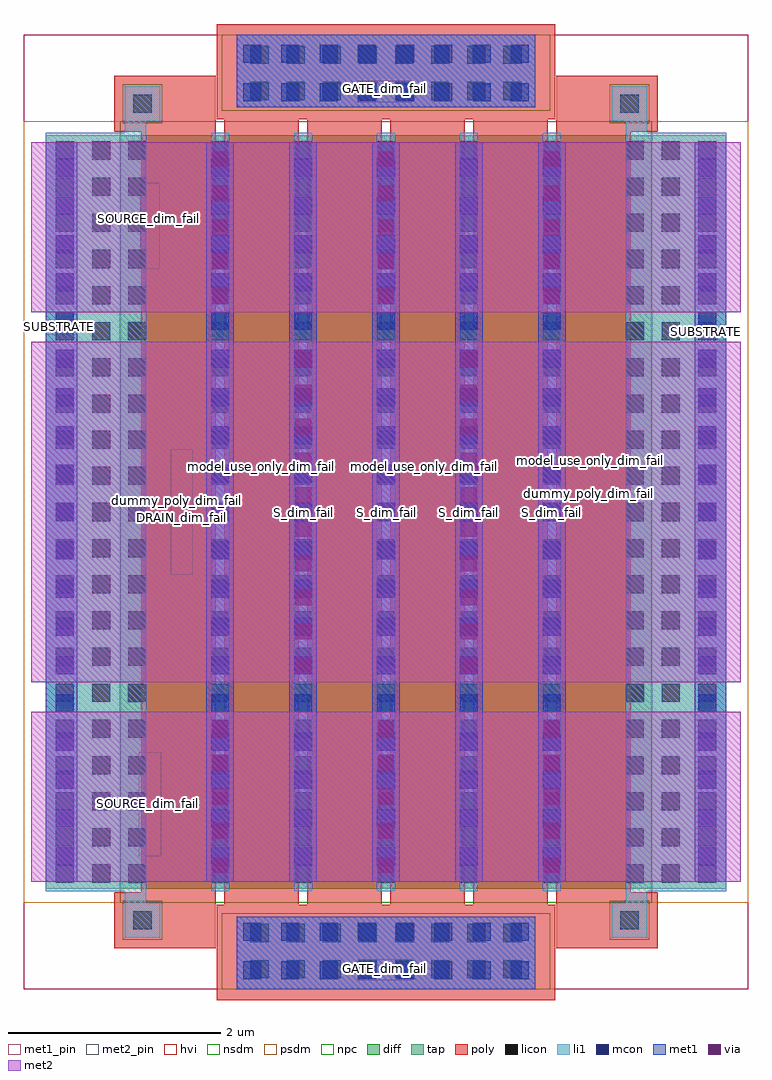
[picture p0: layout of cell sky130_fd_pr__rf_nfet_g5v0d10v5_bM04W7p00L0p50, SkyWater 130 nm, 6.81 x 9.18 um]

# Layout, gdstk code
import gdstk
lib = gdstk.Library(unit=1e-6, precision=1e-09)
def R(c, l, rs):  # rectangles x0, y0, x1, y1
    for r in rs: c.add(gdstk.rectangle(r[:2], r[2:], *l))
def A(c, l, x, y, w, h, nx, ny, dx, dy):  # array of equal rectangles
    R(c, l, [(x+i*dx, y+j*dy, x+i*dx+w, y+j*dy+h) for i in range(nx) for j in range(ny)])
def P(c, l, *ps):  # polygons
    for p in ps: c.add(gdstk.Polygon(p, *l))
diff = (65, 20)
tap = (65, 44)
poly = (66, 20)
licon = (66, 44)
li1 = (67, 20)
mcon = (67, 44)
met1_pin = (68, 16)
met1 = (68, 20)
via = (68, 44)
met2_pin = (69, 16)
met2 = (69, 20)
hvi = (75, 20)
nsdm = (93, 44)
psdm = (94, 20)
npc = (95, 20)

sky130_fd_pr__rf_nfet_g5 = lib.new_cell('sky130_fd_pr__rf_nfet_g5v0d10v5_bM04W7p00L0p50')
R(sky130_fd_pr__rf_nfet_g5, diff, [(0.905,0.945,5.905,8.035)])
R(sky130_fd_pr__rf_nfet_g5, tap, [(0.205,0.945,0.905,8.035), (5.905,0.945,6.605,8.035)])
P(sky130_fd_pr__rf_nfet_g5, poly, [(0.85,0.385),(0.85,0.915),(1.105,0.915),(1.105,8.065),(0.85,8.065),(0.85,8.595),(1.805,8.595),(1.805,0.385)],
  [(5.005,0.385),(5.005,8.595),(5.96,8.595),(5.96,8.065),(5.705,8.065),(5.705,0.915),(5.96,0.915),(5.96,0.385)],
  [(1.815,-0.1),(1.815,0.795),(1.885,0.795),(1.885,8.185),(2.585,8.185),(2.585,0.795),(2.665,0.795),(2.665,8.185),(3.365,8.185),(3.365,0.795),(3.445,0.795),(3.445,8.185),(4.145,8.185),(4.145,0.795),(4.225,0.795),(4.225,8.185),(1.815,8.185),(1.815,9.08),(4.995,9.08),(4.995,8.185),(4.925,8.185),(4.925,0.795),(4.995,0.795),(4.995,-0.1)])
A(sky130_fd_pr__rf_nfet_g5, licon, 2.13, 0.105, 0.17, 0.17, 8, 2, 0.34, 0.34)
A(sky130_fd_pr__rf_nfet_g5, licon, 0.3, 1.005, 0.17, 0.17, 3, 21, 0.34, 0.34)
A(sky130_fd_pr__rf_nfet_g5, licon, 1.76, 1.005, 0.17, 0.17, 6, 21, 0.78, 0.34)
A(sky130_fd_pr__rf_nfet_g5, licon, 6, 1.005, 0.17, 0.17, 1, 21, 0, 0.34)
A(sky130_fd_pr__rf_nfet_g5, licon, 6.34, 1.005, 0.17, 0.17, 1, 21, 0, 0.34)
A(sky130_fd_pr__rf_nfet_g5, licon, 2.13, 8.365, 0.17, 0.17, 8, 2, 0.34, 0.34)
R(sky130_fd_pr__rf_nfet_g5, licon, [(1.03,0.565,1.2,0.735), (5.61,0.565,5.78,0.735), (1.03,8.245,1.2,8.415), (5.61,8.245,5.78,8.415)])
A(sky130_fd_pr__rf_nfet_g5, li1, 1.76, 0.925, 0.17, 7.13, 5, 1, 0.78, 0)
A(sky130_fd_pr__rf_nfet_g5, li1, 1.76, 3.145, 0.17, 2.69, 5, 1, 0.78, 0)
R(sky130_fd_pr__rf_nfet_g5, li1, [(2,0,4.81,0.685), (0.95,0.485,1.28,0.815), (5.53,0.485,5.86,0.815), (0.95,0.815,1.15,0.925), (5.66,0.815,5.86,0.925), (0.205,0.925,1.15,8.055), (5.66,0.925,6.605,8.055), (0.95,8.055,1.15,8.165), (5.66,8.055,5.86,8.165), (0.95,8.165,1.28,8.495), (5.53,8.165,5.86,8.495), (2,8.295,4.81,8.98)])
A(sky130_fd_pr__rf_nfet_g5, mcon, 2.06, 0.095, 0.17, 0.17, 8, 2, 0.36, 0.36)
A(sky130_fd_pr__rf_nfet_g5, mcon, 0.3, 1.165, 0.17, 0.17, 1, 19, 0, 0.36)
A(sky130_fd_pr__rf_nfet_g5, mcon, 1.76, 1.165, 0.17, 0.17, 5, 19, 0.78, 0.36)
A(sky130_fd_pr__rf_nfet_g5, mcon, 6.34, 1.165, 0.17, 0.17, 1, 19, 0, 0.36)
A(sky130_fd_pr__rf_nfet_g5, mcon, 2.06, 8.355, 0.17, 0.17, 8, 2, 0.36, 0.36)
R(sky130_fd_pr__rf_nfet_g5, met1_pin, [(3.14,0.085,3.645,0.285), (6.31,6.105,6.605,6.255), (0.205,6.155,0.5,6.305), (3.14,8.345,3.645,8.545)])
A(sky130_fd_pr__rf_nfet_g5, met1, 1.715, 1.01, 0.26, 1.6, 3, 2, 1.56, 5.36)
A(sky130_fd_pr__rf_nfet_g5, met1, 1.715, 1.01, 0.26, 6.96, 5, 1, 0.78, 0)
R(sky130_fd_pr__rf_nfet_g5, met1, [(2,0,4.81,0.685), (0.205,1.01,0.5,7.97), (6.31,1.01,6.605,7.97), (2,8.295,4.81,8.98)])
A(sky130_fd_pr__rf_nfet_g5, via, 1.77, 1.095, 0.15, 0.15, 3, 5, 1.56, 0.32)
A(sky130_fd_pr__rf_nfet_g5, via, 2.55, 2.975, 0.15, 0.15, 1, 10, 0, 0.32)
A(sky130_fd_pr__rf_nfet_g5, via, 4.11, 2.975, 0.15, 0.15, 1, 10, 0, 0.32)
A(sky130_fd_pr__rf_nfet_g5, via, 1.77, 6.455, 0.15, 0.15, 3, 5, 1.56, 0.32)
R(sky130_fd_pr__rf_nfet_g5, met2_pin, [(1.08,1.25,1.29,2.23), (1.38,3.9,1.585,5.08), (1.095,6.78,1.275,7.585)])
A(sky130_fd_pr__rf_nfet_g5, met2, 1.715, 1.01, 0.26, 1.6, 3, 2, 1.56, 5.36)
R(sky130_fd_pr__rf_nfet_g5, met2, [(0.07,1.01,6.74,2.61), (0.07,2.89,6.74,6.09), (0.07,6.37,6.74,7.97)])
R(sky130_fd_pr__rf_nfet_g5, hvi, [(0,0,6.81,8.98)])
R(sky130_fd_pr__rf_nfet_g5, nsdm, [(0.905,0.815,5.905,8.165)])
R(sky130_fd_pr__rf_nfet_g5, psdm, [(0,0.815,0.905,8.165), (5.905,0.815,6.81,8.165)])
R(sky130_fd_pr__rf_nfet_g5, npc, [(1.86,0,4.95,0.715), (0.93,0.465,1.3,0.835), (5.51,0.465,5.88,0.835), (0.93,8.145,1.3,8.515), (5.51,8.145,5.88,8.515), (1.86,8.265,4.95,8.98)])
sky130_fd_pr__rf_nfet_g5.add(gdstk.Label('SOURCE_dim_fail', (1.16,1.75), layer=69, texttype=5))
sky130_fd_pr__rf_nfet_g5.add(gdstk.Label('SOURCE_dim_fail', (1.175,7.255), layer=69, texttype=5))
sky130_fd_pr__rf_nfet_g5.add(gdstk.Label('DRAIN_dim_fail', (1.485,4.44), layer=69, texttype=5))
sky130_fd_pr__rf_nfet_g5.add(gdstk.Label('GATE_dim_fail', (3.395,8.47), layer=68, texttype=5))
sky130_fd_pr__rf_nfet_g5.add(gdstk.Label('GATE_dim_fail', (3.39,0.2), layer=68, texttype=5))
sky130_fd_pr__rf_nfet_g5.add(gdstk.Label('S_dim_fail', (4.185,4.49), layer=83, texttype=44))
sky130_fd_pr__rf_nfet_g5.add(gdstk.Label('S_dim_fail', (4.965,4.49), layer=83, texttype=44))
sky130_fd_pr__rf_nfet_g5.add(gdstk.Label('D_dim_fail', (4.185,4.49), layer=83, texttype=44))
sky130_fd_pr__rf_nfet_g5.add(gdstk.Label('S_dim_fail', (3.405,4.49), layer=83, texttype=44))
sky130_fd_pr__rf_nfet_g5.add(gdstk.Label('S_dim_fail', (3.405,4.49), layer=83, texttype=44))
sky130_fd_pr__rf_nfet_g5.add(gdstk.Label('S_dim_fail', (2.625,4.49), layer=83, texttype=44))
sky130_fd_pr__rf_nfet_g5.add(gdstk.Label('D_dim_fail', (2.625,4.49), layer=83, texttype=44))
sky130_fd_pr__rf_nfet_g5.add(gdstk.Label('S_dim_fail', (1.845,4.49), layer=83, texttype=44))
sky130_fd_pr__rf_nfet_g5.add(gdstk.Label('S_dim_fail', (1.845,4.49), layer=83, texttype=44))
sky130_fd_pr__rf_nfet_g5.add(gdstk.Label('dummy_poly_dim_fail', (5.31,4.66), layer=83, texttype=44))
sky130_fd_pr__rf_nfet_g5.add(gdstk.Label('dummy_poly_dim_fail', (1.43,4.595), layer=83, texttype=44))
sky130_fd_pr__rf_nfet_g5.add(gdstk.Label('model_use_only_dim_fail', (2.23,4.915), layer=66, texttype=83))
sky130_fd_pr__rf_nfet_g5.add(gdstk.Label('model_use_only_dim_fail', (3.005,4.96), layer=66, texttype=83))
sky130_fd_pr__rf_nfet_g5.add(gdstk.Label('model_use_only_dim_fail', (3.765,4.915), layer=66, texttype=83))
sky130_fd_pr__rf_nfet_g5.add(gdstk.Label('model_use_only_dim_fail', (4.54,4.975), layer=66, texttype=83))
sky130_fd_pr__rf_nfet_g5.add(gdstk.Label('model_use_only_dim_fail', (1.4,4.975), layer=66, texttype=83))
sky130_fd_pr__rf_nfet_g5.add(gdstk.Label('model_use_only_dim_fail', (5.33,4.975), layer=66, texttype=83))
sky130_fd_pr__rf_nfet_g5.add(gdstk.Label('SUBSTRATE', (0.335,6.235), layer=68, texttype=16))
sky130_fd_pr__rf_nfet_g5.add(gdstk.Label('SUBSTRATE', (6.42,6.185), layer=68, texttype=16))

lib.write_gds('sky130_fd_pr__rf_nfet_g5v0d10v5_bM04W7p00L0p50.gds')
